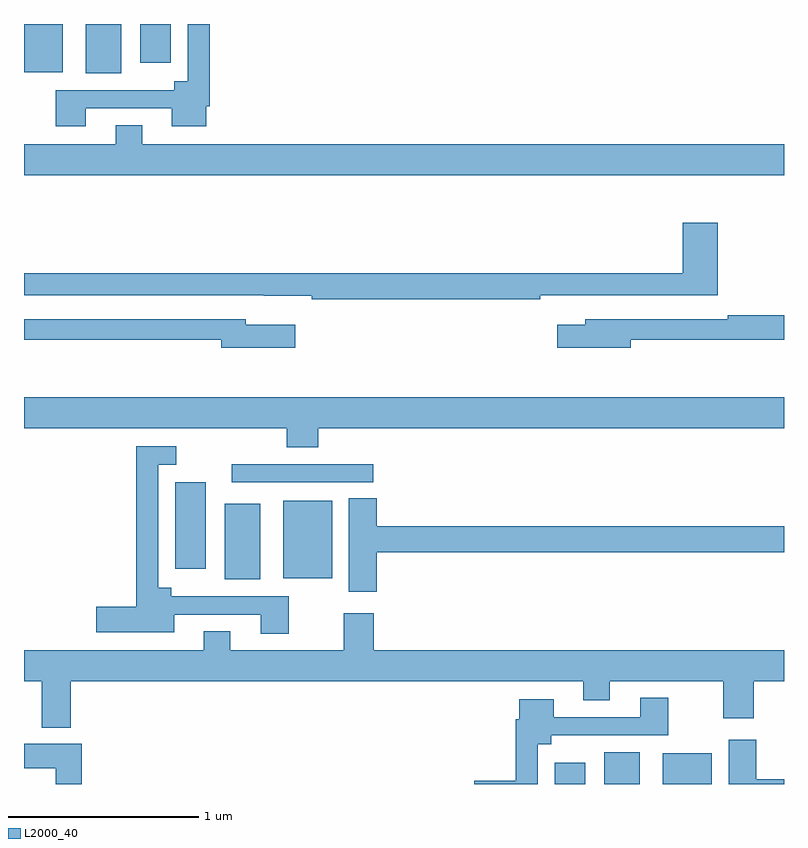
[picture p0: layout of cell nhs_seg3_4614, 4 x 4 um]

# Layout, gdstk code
import gdstk
lib = gdstk.Library(unit=1e-6, precision=1e-09)
def R(c, l, rs):  # rectangles x0, y0, x1, y1
    for r in rs: c.add(gdstk.rectangle(r[:2], r[2:], *l))
def P(c, l, *ps):  # polygons
    for p in ps: c.add(gdstk.Polygon(p, *l))
L2000_40 = (2000, 40)

nhs_seg3_4614 = lib.new_cell('nhs_seg3_4614')
R(nhs_seg3_4614, L2000_40, [(361.793,676.4,361.954,676.513), (362.054,676.4,362.242,676.567), (362.363,676.4,362.62,676.561), (360.056,677.477,360.244,677.875), (360.365,677.483,360.622,677.89), (359.795,677.532,359.956,677.989), (360.093,677.988,360.838,678.084), (359.324,680.141,359.512,680.4), (359,680.147,359.203,680.4), (359.612,680.196,359.773,680.4)])
P(nhs_seg3_4614, L2000_40, [(359.326,679.956),(359.777,679.956),(359.777,679.862),(359.959,679.862),(359.959,679.966),(359.978,679.966),(359.978,680.4),(359.862,680.4),(359.862,680.098),(359.792,680.098),(359.792,680.052),(359.168,680.052),(359.168,679.862),(359.326,679.862)],
  [(363,679.768),(359.623,679.768),(359.623,679.867),(359.483,679.867),(359.483,679.768),(359,679.768),(359,679.604),(363,679.604)],
  [(361.718,678.972),(362.651,678.972),(362.651,679.354),(362.468,679.354),(362.468,679.088),(359,679.088),(359,678.972),(360.262,678.972),(360.262,678.971),(360.514,678.971),(360.514,678.952),(361.718,678.952)],
  [(362.194,678.738),(363,678.738),(363,678.866),(362.704,678.866),(362.704,678.846),(361.955,678.846),(361.955,678.817),(361.806,678.817),(361.806,678.695),(362.194,678.695)],
  [(360.427,678.817),(360.166,678.817),(360.166,678.846),(359,678.846),(359,678.738),(360.038,678.738),(360.038,678.695),(360.427,678.695)],
  [(360.548,678.272),(363,678.272),(363,678.436),(359,678.436),(359,678.272),(360.383,678.272),(360.383,678.173),(360.548,678.173)],
  [(360.393,677.388),(359.776,677.388),(359.776,677.434),(359.706,677.434),(359.706,678.08),(359.8,678.08),(359.8,678.177),(359.59,678.177),(359.59,677.333),(359.379,677.333),(359.379,677.198),(359.791,677.198),(359.791,677.292),(360.245,677.292),(360.245,677.19),(360.393,677.19)],
  [(360.857,677.62),(363,677.62),(363,677.756),(360.857,677.756),(360.857,677.903),(360.71,677.903),(360.71,677.412),(360.857,677.412)],
  [(359.246,676.94),(361.943,676.94),(361.943,676.841),(362.083,676.841),(362.083,676.94),(362.68,676.94),(362.68,676.746),(362.84,676.746),(362.84,676.94),(363,676.94),(363,677.104),(360.842,677.104),(360.842,677.299),(360.682,677.299),(360.682,677.104),(360.085,677.104),(360.085,677.203),(359.945,677.203),(359.945,677.104),(359,677.104),(359,676.94),(359.093,676.94),(359.093,676.697),(359.246,676.697)],
  [(361.704,676.61),(361.774,676.61),(361.774,676.656),(362.391,676.656),(362.391,676.855),(362.243,676.855),(362.243,676.752),(361.789,676.752),(361.789,676.846),(361.607,676.846),(361.607,676.742),(361.588,676.742),(361.588,676.417),(361.37,676.417),(361.37,676.4),(361.704,676.4)],
  [(363,676.424),(362.855,676.424),(362.855,676.633),(362.708,676.633),(362.708,676.4),(363,676.4)],
  [(359.303,676.612),(359,676.612),(359,676.484),(359.168,676.484),(359.168,676.4),(359.303,676.4)])

lib.write_gds('nhs_seg3_4614.gds')
